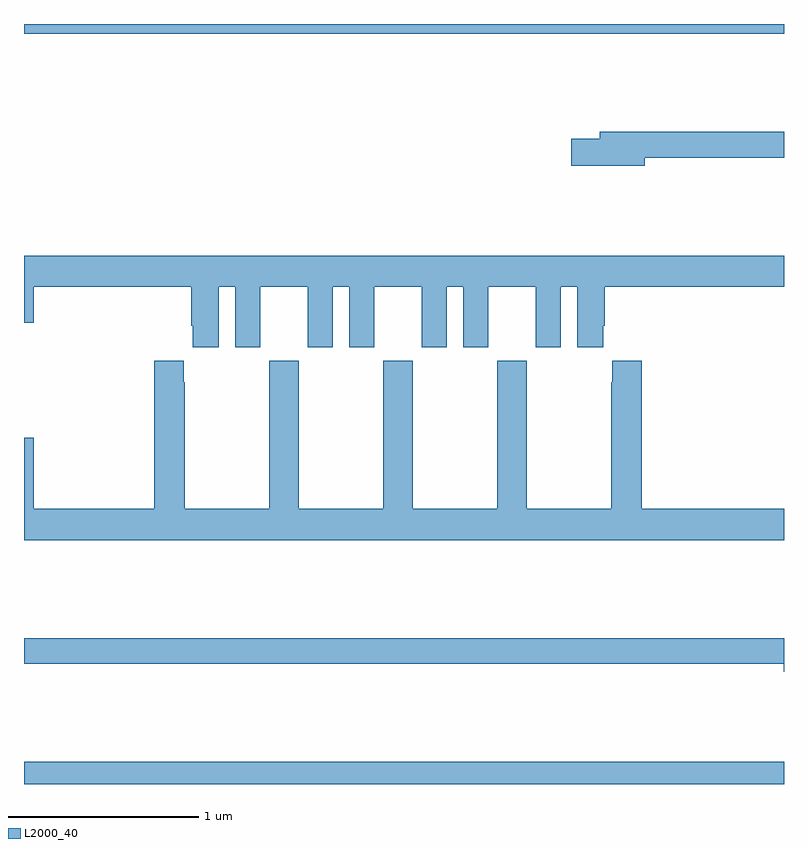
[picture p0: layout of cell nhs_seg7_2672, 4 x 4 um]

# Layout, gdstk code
import gdstk
lib = gdstk.Library(unit=1e-6, precision=1e-09)
def R(c, l, rs):  # rectangles x0, y0, x1, y1
    for r in rs: c.add(gdstk.rectangle(r[:2], r[2:], *l))
def P(c, l, *ps):  # polygons
    for p in ps: c.add(gdstk.Polygon(p, *l))
L2000_40 = (2000, 40)

nhs_seg7_2672 = lib.new_cell('nhs_seg7_2672')
R(nhs_seg7_2672, L2000_40, [(285,998,289,998.116), (285,1001.948,289,1002)])
P(nhs_seg7_2672, L2000_40, [(288.268,1001.296),(289,1001.296),(289,1001.432),(288.029,1001.432),(288.029,1001.396),(287.88,1001.396),(287.88,1001.254),(288.268,1001.254)],
  [(286.024,1000.616),(286.112,1000.616),(286.112,1000.299),(286.243,1000.299),(286.243,1000.616),(286.493,1000.616),(286.493,1000.299),(286.624,1000.299),(286.624,1000.616),(286.712,1000.616),(286.712,1000.299),(286.843,1000.299),(286.843,1000.616),(287.093,1000.616),(287.093,1000.299),(287.224,1000.299),(287.224,1000.616),(287.312,1000.616),(287.312,1000.299),(287.443,1000.299),(287.443,1000.616),(287.693,1000.616),(287.693,1000.299),(287.824,1000.299),(287.824,1000.616),(287.912,1000.616),(287.912,1000.299),(288.049,1000.299),(288.049,1000.411),(288.056,1000.411),(288.056,1000.616),(289,1000.616),(289,1000.78),(285,1000.78),(285,1000.428),(285.052,1000.428),(285.052,1000.616),(285.881,1000.616),(285.881,1000.411),(285.887,1000.411),(285.887,1000.299),(286.024,1000.299)],
  [(289,999.448),(288.251,999.448),(288.251,1000.228),(288.095,1000.228),(288.095,1000.115),(288.091,1000.115),(288.091,999.448),(287.646,999.448),(287.646,1000.228),(287.491,1000.228),(287.491,999.448),(287.046,999.448),(287.046,1000.228),(286.891,1000.228),(286.891,999.448),(286.446,999.448),(286.446,1000.228),(286.291,1000.228),(286.291,999.448),(285.846,999.448),(285.846,1000.115),(285.841,1000.115),(285.841,1000.228),(285.686,1000.228),(285.686,999.448),(285.052,999.448),(285.052,999.823),(285,999.823),(285,999.284),(289,999.284)],
  [(289,998.768),(285,998.768),(285,998.632),(288.998,998.632),(288.998,998.59),(289,998.59)])

lib.write_gds('nhs_seg7_2672.gds')
